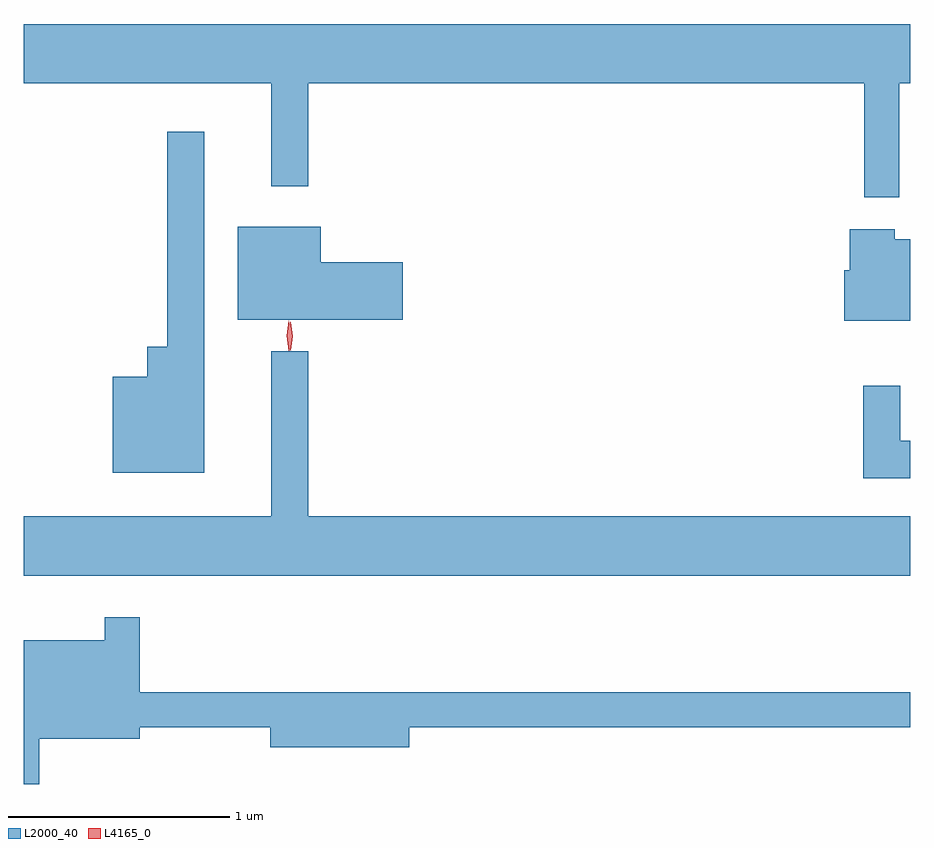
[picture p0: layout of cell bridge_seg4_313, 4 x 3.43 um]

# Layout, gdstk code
import gdstk
lib = gdstk.Library(unit=1e-6, precision=1e-09)
def P(c, l, *ps):  # polygons
    for p in ps: c.add(gdstk.Polygon(p, *l))
L2000_40 = (2000, 40)
L4165_0 = (4165, 0)

bridge_seg4_313 = lib.new_cell('bridge_seg4_313')
P(bridge_seg4_313, L2000_40, [(571.454,1259.216),(571.504,1259.216),(571.504,1259.484),(567.504,1259.484),(567.504,1259.216),(568.621,1259.216),(568.621,1258.753),(568.789,1258.753),(568.789,1259.216),(571.296,1259.216),(571.296,1258.703),(571.454,1258.703)],
  [(568.319,1258.998),(568.151,1258.998),(568.151,1258.029),(568.061,1258.029),(568.061,1257.894),(567.906,1257.894),(567.906,1257.461),(568.319,1257.461)],
  [(569.214,1258.409),(568.844,1258.409),(568.844,1258.569),(568.471,1258.569),(568.471,1258.151),(569.214,1258.151)],
  [(571.504,1258.514),(571.434,1258.514),(571.434,1258.559),(571.231,1258.559),(571.231,1258.374),(571.206,1258.374),(571.206,1258.146),(571.504,1258.146)],
  [(571.504,1257.264),(568.789,1257.264),(568.789,1258.008),(568.621,1258.008),(568.621,1257.264),(567.504,1257.264),(567.504,1256.996),(571.504,1256.996)],
  [(571.504,1257.604),(571.459,1257.604),(571.459,1257.853),(571.291,1257.853),(571.291,1257.436),(571.504,1257.436)],
  [(567.574,1256.261),(568.029,1256.261),(568.029,1256.311),(568.616,1256.311),(568.616,1256.221),(569.244,1256.221),(569.244,1256.311),(571.504,1256.311),(571.504,1256.469),(568.029,1256.469),(568.029,1256.808),(567.871,1256.808),(567.871,1256.704),(567.504,1256.704),(567.504,1256.056),(567.574,1256.056)])
P(bridge_seg4_313, L4165_0, [(568.707,1258.013),(568.707,1258.013),(568.697,1258.076),(568.707,1258.139),(568.707,1258.14),(568.708,1258.139),(568.717,1258.076),(568.708,1258.013)],
  [(568.701,1258.01),(568.691,1258.078),(568.7,1258.146),(568.7,1258.146),(568.701,1258.146),(568.711,1258.078),(568.702,1258.01),(568.702,1258.01)])

lib.write_gds('bridge_seg4_313.gds')
